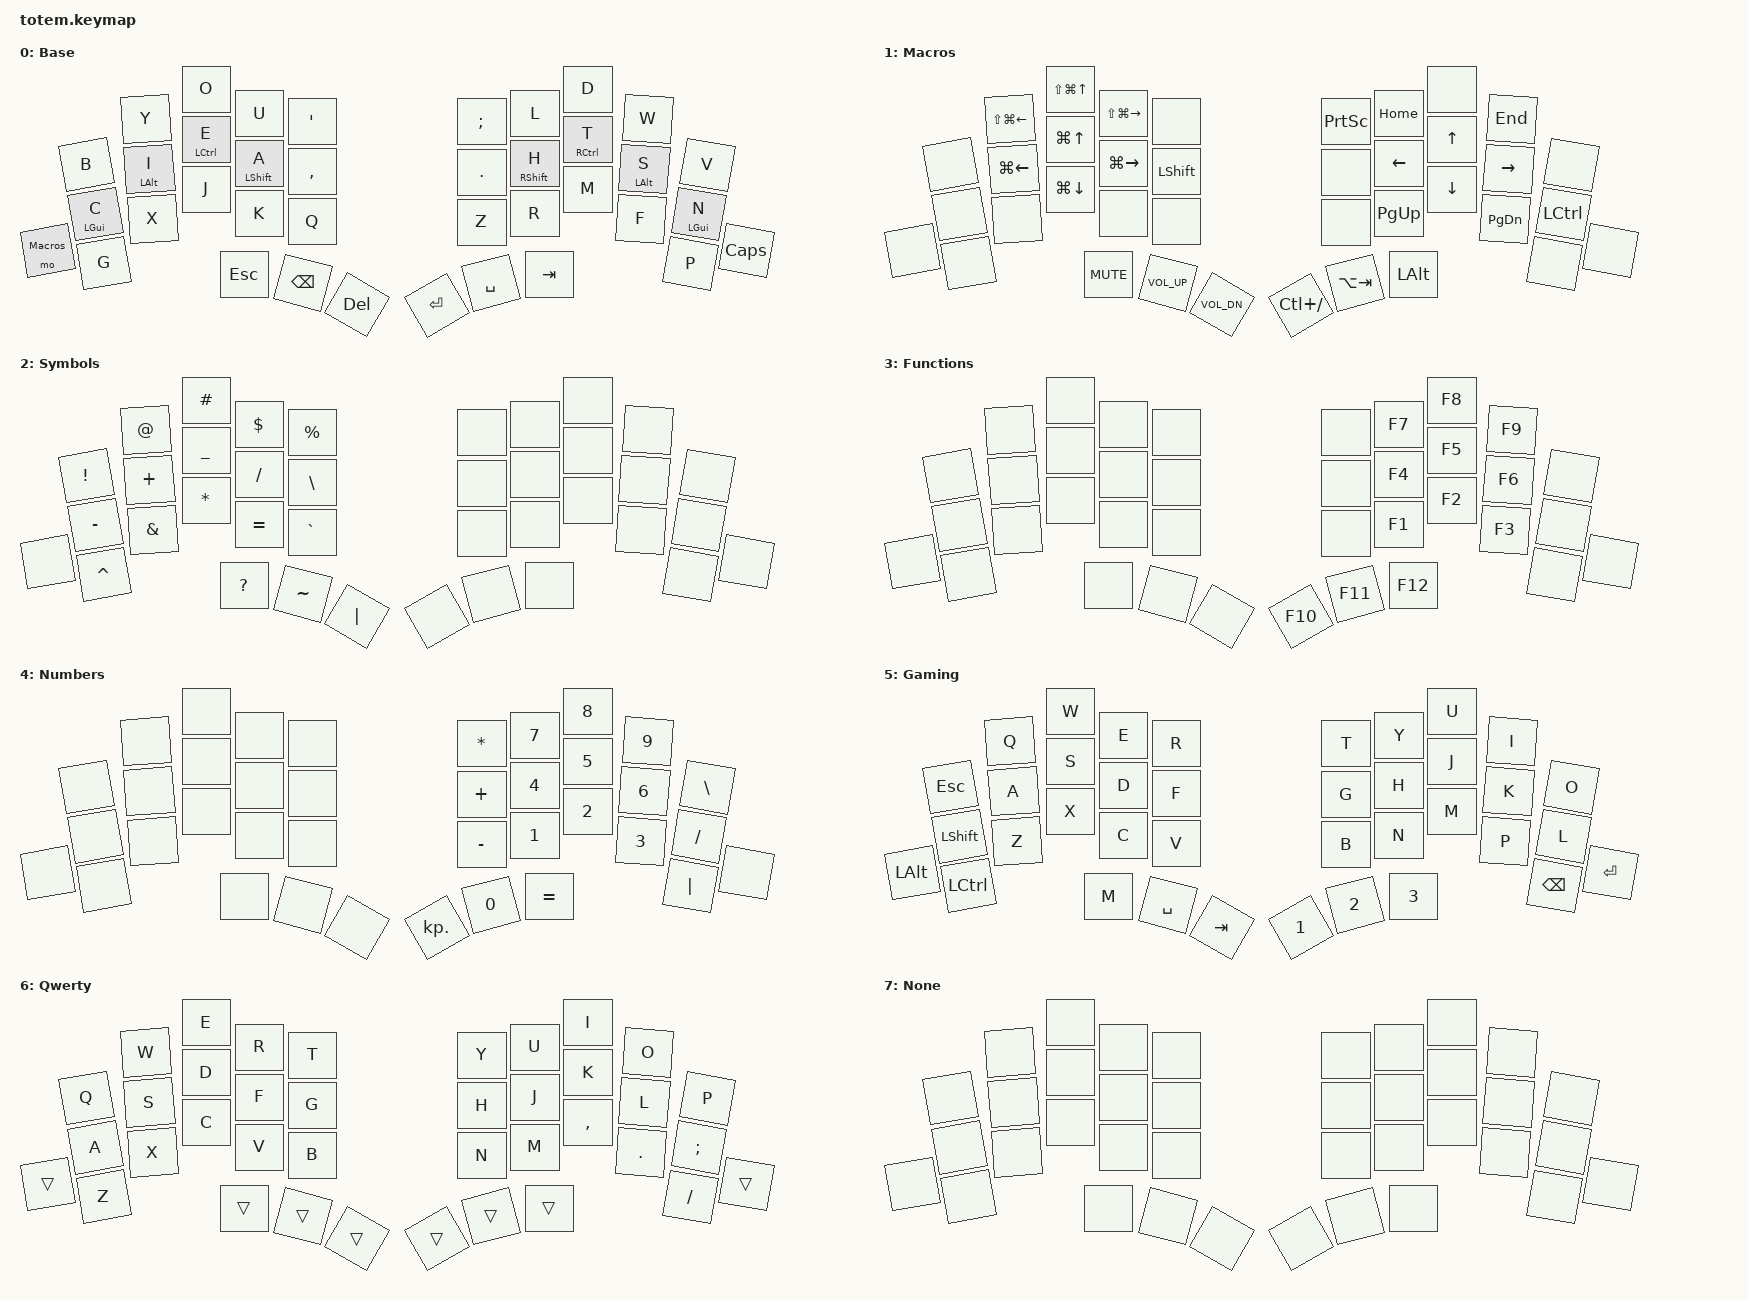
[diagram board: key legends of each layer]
//
//                                                        ▀▀▀▀▀     ▀▀▀▀▀          ▀▀█▀▀
//                                                        ▄▀▀▀▄  ▄  ▄▀▀▀▄  ▄  ▄▀▀▀▄  █  ▄▀▀▀▄
//                                                        █   █  █  █   █  █  █   █  █  █   █
//                                                         ▀▀▀   █   ▀▀▀   █   ▀▀▀   ▀   ▀▀▀
//                                                               █      ▄▄▄█▄▄▄    █   █
//                                                               ▀      █  █  █     █▄█
//                                                             ▀▀▀▀▀    █  █  █      ▀
//                                                                      ▀  ▀  ▀
//
// ▄▄▄▄▄▄▄▄▄▄▄▄▄▄▄▄▄▄▄▄▄▄▄▄▄▄▄▄▄▄▄▄▄▄▄▄▄▄▄▄▄▄▄▄▄▄▄▄▄▄▄▄▄▄▄▄▄▄▄▄▄▄▄▄▄▄▄▄▄▄▄▄▄▄▄▄▄▄▄▄▄▄▄▄▄▄▄▄▄▄▄▄▄▄▄▄▄▄▄▄▄▄▄▄▄▄▄▄▄▄▄▄▄▄▄▄▄▄▄▄▄▄▄▄▄▄▄▄▄▄▄▄▄▄▄▄▄▄▄▄▄▄▄▄▄▄▄▄▄

#include <behaviors.dtsi>
#include <dt-bindings/zmk/keys.h>

#define Base      0
#define Macros    1
#define Symbols    2
#define Functions 3
#define Numbers   4
#define Gaming    5
#define Qwerty    6

&mt {
    quick-tap-ms = <100>;
    global-quick-tap;
    flavor = "tap-preferred";
    tapping-term-ms = <170>;
};

&lt {
    tapping-term-ms = <240>;
    flavor = "hold-preferred";
    quick-tap-ms = <150>;
};

/ {
    behaviors {
        hm: homerow_mods {
            compatible = "zmk,behavior-hold-tap";
            label = "HOMEROW_MODS";
            #binding-cells = <2>;
            flavor = "balanced";
            tapping-term-ms = <200>;
            quick-tap-ms = <125>;
            global-quick-tap;
            bindings = <&kp>, <&kp>;
        };
    };

    combos {
        compatible = "zmk,combos";

        lpar {
            bindings = <&kp LEFT_PARENTHESIS>;
            key-positions = <13 14>;
            layers = <0>;
        };

        rpar {
            bindings = <&kp RIGHT_PARENTHESIS>;
            key-positions = <15 16>;
            layers = <0>;
        };

        lbracket {
            bindings = <&kp LEFT_BRACKET>;
            key-positions = <3 4>;
            layers = <0>;
        };

        rbracket {
            bindings = <&kp RIGHT_BRACKET>;
            key-positions = <5 6>;
            layers = <0>;
        };

        lbrace {
            bindings = <&kp LEFT_BRACE>;
            key-positions = <24 25>;
            layers = <0>;
        };

        rbrace {
            bindings = <&kp RIGHT_BRACE>;
            key-positions = <26 27>;
            layers = <0>;
        };

        question {
            bindings = <&kp QUESTION>;
            key-positions = <14 15>;
            layers = <0>;
        };

        slash {
            bindings = <&kp SLASH>;
            key-positions = <33 36>;
            layers = <0>;
        };

        word_caps {
            bindings = <&caps_word>;
            key-positions = <10 33>;
            layers = <0>;
        };

        macrolayer {
            bindings = <&mo Macros>;
            key-positions = <0 10>;
            layers = <0>;
        };

        numberslayer {
            bindings = <&mo Numbers>;
            key-positions = <13 33>;
            layers = <0>;
        };

        functionslayer {
            bindings = <&mo Functions>;
            key-positions = <12 33>;
            layers = <0>;
        };

        tempsymbolslayer {
            bindings = <&mo Symbols>;
            key-positions = <16 36>;
            layers = <0>;
        };

        tobaselayer {
            bindings = <&to Base>;
            key-positions = <11 12 13>;
        };

        togamelayer {
            bindings = <&to Gaming>;
            key-positions = <35 36 37>;
            layers = <0>;
        };

        tonumbersblayer {
            bindings = <&to Numbers>;
            key-positions = <16 17 18>;
        };
    };

    keymap {
        compatible = "zmk,keymap";

        // -------------------------------------------------KEY NUMBERS-------------------------------------------------
        //        |  0   |  1   |  2   |  3   |  4   |                       |  5   |  6   |  7   |  8   |  9   |
        //        |  10  |  11  |  12  |  13  |  14  |                       |  15  |  16  |  17  |  18  |  19  |
        // |  20  |  21  |  22  |  23  |  24  |  25  |                       |  26  |  27  |  28  |  29  |  30  |  31  |
        //                             |  32  |  33  |  34  |         |  35  |  36  |  37  |

        Base {
            display-name = "Base";
            bindings = <
                        &kp B       &kp Y       &kp O        &kp U         &kp APOSTROPHE                      &kp SEMICOLON  &kp L         &kp D        &kp W       &kp V
                        &hm LGUI C  &hm LALT I  &hm LCTRL E  &hm LSHIFT A  &kp COMMA                           &kp PERIOD     &hm RSHIFT H  &hm RCTRL T  &hm LALT S  &hm LGUI N
            &mo Macros  &kp G       &kp X       &kp J        &kp K         &kp Q                               &kp Z          &kp R         &kp M        &kp F       &kp P       &kp CAPS
                                                             &kp ESC       &kp BSPC        &kp DEL    &kp RET  &kp SPACE      &kp TAB
            >;
        };

        Macros {
            bindings = <
                   &none  &kp LS(LG(LEFT))  &kp LS(LG(UP))    &kp LS(LG(RIGHT))  &none                                          &kp PRINTSCREEN  &kp HOME     &none         &kp END        &none
                   &none  &kp LG(LEFT)      &kp LG(UP_ARROW)  &kp LG(RIGHT)      &kp LEFT_SHIFT                                 &none            &kp LEFT     &kp UP_ARROW  &kp RIGHT      &kp LEFT_CONTROL
            &none  &none  &none             &kp LG(DOWN)      &none              &none                                          &none            &kp PAGE_UP  &kp DOWN      &kp PAGE_DOWN  &none             &none
                                                              &kp C_MUTE         &kp C_VOL_UP    &kp C_VOL_DN    &kp LC(SLASH)  &kp LA(TAB)      &kp LEFT_ALT
            >;
        };

        Symbols {
            display-name = "Symbols";
            bindings = <
                   &kp EXCL   &kp AT    &kp HASH   &kp DLLR   &kp PRCNT                     &none  &none  &none  &none  &none
                   &kp MINUS  &kp PLUS  &kp UNDER  &kp SLASH  &kp BSLH                      &none  &none  &none  &none  &none
            &none  &kp CARET  &kp AMPS  &kp STAR   &kp EQUAL  &kp GRAVE                     &none  &none  &none  &none  &none  &none
                                                   &kp QMARK  &kp TILDE  &kp PIPE    &none  &none  &none
            >;
        };

        Functions {
            display-name = "Functions";
            bindings = <
                   &none  &none  &none  &none  &none                    &none    &kp F7   &kp F8  &kp F9  &none
                   &none  &none  &none  &none  &none                    &none    &kp F4   &kp F5  &kp F6  &none
            &none  &none  &none  &none  &none  &none                    &none    &kp F1   &kp F2  &kp F3  &none  &none
                                        &none  &none  &none    &kp F10  &kp F11  &kp F12
            >;
        };

        Numbers {
            bindings = <
                   &none  &none  &none  &none  &none                       &kp STAR   &kp N7  &kp N8  &kp N9  &kp BSLH
                   &none  &none  &none  &none  &none                       &kp PLUS   &kp N4  &kp N5  &kp N6  &kp SLASH
            &none  &none  &none  &none  &none  &none                       &kp MINUS  &kp N1  &kp N2  &kp N3  &kp PIPE   &none
                                        &none  &none  &none    &kp KP_DOT  &kp N0     &kp EQUAL
            >;
        };

        Gaming {
            bindings = <
                      &kp ESC    &kp Q  &kp W  &kp E  &kp R                         &kp T   &kp Y   &kp U  &kp I  &kp O
                      &kp LSHFT  &kp A  &kp S  &kp D  &kp F                         &kp G   &kp H   &kp J  &kp K  &kp L
            &kp LALT  &kp LCTRL  &kp Z  &kp X  &kp C  &kp V                         &kp B   &kp N   &kp M  &kp P  &kp BSPC  &kp ENTER
                                               &kp M  &kp SPACE  &kp TAB    &kp N1  &kp N2  &kp N3
            >;
        };

        Qwerty {
            display-name = "Qwerty";
            bindings = <
                    &kp Q  &kp W  &kp E   &kp R   &kp T                     &kp Y   &kp U   &kp I      &kp O       &kp P
                    &kp A  &kp S  &kp D   &kp F   &kp G                     &kp H   &kp J   &kp K      &kp L       &kp SEMI
            &trans  &kp Z  &kp X  &kp C   &kp V   &kp B                     &kp N   &kp M   &kp COMMA  &kp PERIOD  &kp SLASH  &trans
                                          &trans  &trans  &trans    &trans  &trans  &trans
            >;
        };

        // This layer is used as a base for any new layers, and even if it isn't referenced or used, it should be kept in this keymap file
        None {
            display-name = "None";
            bindings = <
                   &none  &none  &none  &none  &none                  &none  &none  &none  &none  &none
                   &none  &none  &none  &none  &none                  &none  &none  &none  &none  &none
            &none  &none  &none  &none  &none  &none                  &none  &none  &none  &none  &none  &none
                                        &none  &none  &none    &none  &none  &none
            >;
        };
    };
};
